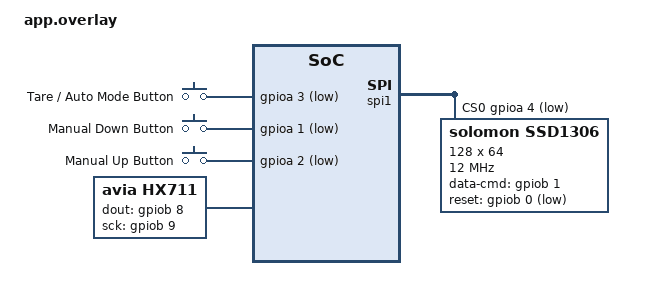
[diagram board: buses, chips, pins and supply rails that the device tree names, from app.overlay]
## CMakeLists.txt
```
cmake_minimum_required(VERSION 3.20.0)

# Use the exact absolute path to your cloned module
set(ZEPHYR_EXTRA_MODULES "/home/sudha/zephyer_rtos/modules/HX711_zephyr_driver")

# Boot up Zephyr
find_package(Zephyr REQUIRED HINTS $ENV{ZEPHYR_BASE})

project(hoist_app)
target_sources(app PRIVATE src/main.c)
```

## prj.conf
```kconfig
CONFIG_GPIO=y
CONFIG_SPI=y

# Raw Display Subsystem
CONFIG_DISPLAY=y
CONFIG_SSD1306=y

# Minimal Libc (Saves tons of Flash)
CONFIG_MINIMAL_LIBC=y

# Sensor Subsystem & HX711
CONFIG_SENSOR=y
CONFIG_HX711=y
CONFIG_HX711_ENABLE_EMA_FILTER=n
CONFIG_HX711_ENABLE_MEDIAN_FILTER=y
CONFIG_HX711_MEDIAN_FILTER_WINDOW_SIZE=3

# --- THE FIX: Disable Console to free up pins PA9 and PA10! ---
CONFIG_SERIAL=n
CONFIG_CONSOLE=n
CONFIG_UART_CONSOLE=n

# Aggressive Size Optimizations
CONFIG_SIZE_OPTIMIZATIONS=y

# Multithreading Optimization 
CONFIG_MAIN_STACK_SIZE=1024
CONFIG_SYSTEM_WORKQUEUE_STACK_SIZE=1024
```

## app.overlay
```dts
/ {
	aliases {
		scale = &hx711;
		tare-btn = &tare_button;
		down-btn = &down_button;
		up-btn = &up_button;
	};

	buttons {
		compatible = "gpio-keys";
		tare_button: button_0 {
			gpios = <&gpioa 3 (GPIO_ACTIVE_LOW | GPIO_PULL_UP)>;
			label = "Tare / Auto Mode Button";
		};
		down_button: button_1 {
			gpios = <&gpioa 1 (GPIO_ACTIVE_LOW | GPIO_PULL_UP)>;
			label = "Manual Down Button";
		};
		up_button: button_2 {
			gpios = <&gpioa 2 (GPIO_ACTIVE_LOW | GPIO_PULL_UP)>;
			label = "Manual Up Button";
		};
	};

	hx711: hx711 {
		compatible = "avia,hx711";
		status = "okay";
		label = "HX711";
		dout-gpios = <&gpiob 8 (GPIO_ACTIVE_HIGH | GPIO_PULL_UP)>;
		sck-gpios = <&gpiob 9 GPIO_ACTIVE_HIGH>;
	};
};

&spi1 {
	status = "okay";
	cs-gpios = <&gpioa 4 GPIO_ACTIVE_LOW>;
	ssd1306: ssd1306@0 {
		compatible = "solomon,ssd1306";
		reg = <0>;
		spi-max-frequency = <12000000>;
		width = <128>;
		height = <64>;
		segment-offset = <0>;
		page-offset = <0>;
		display-offset = <0>;
		multiplex-ratio = <63>;
		segment-remap;
		com-invdir;
		prechargep = <0x22>;
		data-cmd-gpios = <&gpiob 1 GPIO_ACTIVE_HIGH>;
		reset-gpios = <&gpiob 0 GPIO_ACTIVE_LOW>;
	};
};
```

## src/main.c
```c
#include <zephyr/kernel.h>
#include <zephyr/device.h>
#include <zephyr/devicetree.h>
#include <zephyr/drivers/sensor.h>
#include <zephyr/drivers/display.h>
#include <zephyr/drivers/gpio.h>
#include <sensor/hx711/hx711.h>
#include <stdio.h>
#include <string.h>
#include <stdlib.h> 

#define SCREEN_WIDTH 128
#define SCREEN_HEIGHT 64

/* --- System Modes --- */
#define MODE_MANUAL 0
#define MODE_AUTO   1

/* --- Tuning Parameters --- */
#define DEADBAND_GRAMS 20   
#define SPEED_MULTIPLIER 300
#define MAX_SPEED_HZ 60000     
#define MANUAL_SPEED_HZ 2000 // Constant speed when holding A1/A2
#define SPEED_SMOOTHING 0.005f // Lower = smoother/slower acceleration, Higher = jerkier

/* --- State & Math --- */
static uint8_t frame_buffer[1024];
static volatile int32_t latest_raw = 0;
static volatile float filtered_raw = 0.0f;
static volatile int current_grams = 0;

static float tare_offset = 8281000.0f; 
static float scale_factor = 200.0f;    

/* State Machine Variables */
static volatile int system_mode = MODE_MANUAL; 
static volatile int manual_cmd = 0; // 1 = UP, -1 = DOWN, 0 = HOLD

/* --- Hardware Handles --- */
const struct device *hx = DEVICE_DT_GET(DT_NODELABEL(hx711));
const struct device *disp = DEVICE_DT_GET(DT_NODELABEL(ssd1306));
const struct device *gpioa = DEVICE_DT_GET(DT_NODELABEL(gpioa)); 
const struct device *gpiob = DEVICE_DT_GET(DT_NODELABEL(gpiob)); 

static const struct gpio_dt_spec btn_tare = GPIO_DT_SPEC_GET(DT_ALIAS(tare_btn), gpios);
static const struct gpio_dt_spec btn_down = GPIO_DT_SPEC_GET(DT_ALIAS(down_btn), gpios);
static const struct gpio_dt_spec btn_up   = GPIO_DT_SPEC_GET(DT_ALIAS(up_btn), gpios);

/* Complete ASCII Font (Space to 'Z') */
static const uint8_t font_5x7[59][5] = {
    {0x00,0x00,0x00,0x00,0x00}, {0x00,0x00,0x5f,0x00,0x00}, {0x00,0x07,0x00,0x07,0x00}, {0x14,0x7f,0x14,0x7f,0x14}, 
    {0x24,0x2a,0x7f,0x2a,0x12}, {0x23,0x13,0x08,0x64,0x62}, {0x36,0x49,0x55,0x22,0x50}, {0x00,0x05,0x03,0x00,0x00}, 
    {0x00,0x1c,0x22,0x41,0x00}, {0x00,0x41,0x22,0x1c,0x00}, {0x14,0x08,0x3e,0x08,0x14}, {0x08,0x08,0x3e,0x08,0x08}, 
    {0x00,0x50,0x30,0x00,0x00}, {0x08,0x08,0x08,0x08,0x08}, {0x00,0x60,0x60,0x00,0x00}, {0x20,0x10,0x08,0x04,0x02}, 
    {0x3e,0x51,0x49,0x45,0x3e}, {0x00,0x42,0x7f,0x40,0x00}, {0x42,0x61,0x51,0x49,0x46}, {0x21,0x41,0x45,0x4b,0x31}, 
    {0x18,0x14,0x12,0x7f,0x10}, {0x27,0x45,0x45,0x45,0x39}, {0x3c,0x4a,0x49,0x49,0x30}, {0x01,0x71,0x09,0x05,0x03}, 
    {0x36,0x49,0x49,0x49,0x36}, {0x06,0x49,0x49,0x29,0x1e}, {0x00,0x36,0x36,0x00,0x00}, {0x00,0x56,0x36,0x00,0x00}, 
    {0x08,0x14,0x22,0x41,0x00}, {0x14,0x14,0x14,0x14,0x14}, {0x00,0x41,0x22,0x14,0x08}, {0x02,0x01,0x51,0x09,0x06}, 
    {0x32,0x49,0x79,0x41,0x3e}, {0x7e,0x11,0x11,0x11,0x7e}, {0x7f,0x49,0x49,0x49,0x36}, {0x3e,0x41,0x41,0x41,0x22}, 
    {0x7f,0x41,0x41,0x22,0x1c}, {0x7f,0x49,0x49,0x49,0x41}, {0x7f,0x09,0x09,0x09,0x01}, {0x3e,0x41,0x49,0x49,0x7a}, 
    {0x7f,0x08,0x08,0x08,0x7f}, {0x00,0x41,0x7f,0x41,0x00}, {0x20,0x40,0x41,0x3f,0x01}, {0x7f,0x08,0x14,0x22,0x41}, 
    {0x7f,0x40,0x40,0x40,0x40}, {0x7f,0x02,0x0c,0x02,0x7f}, {0x7f,0x04,0x08,0x10,0x7f}, {0x3e,0x41,0x41,0x41,0x3e}, 
    {0x7f,0x09,0x09,0x09,0x06}, {0x3e,0x41,0x51,0x21,0x5e}, {0x7f,0x09,0x19,0x29,0x46}, {0x46,0x49,0x49,0x49,0x31}, 
    {0x01,0x01,0x7f,0x01,0x01}, {0x3f,0x40,0x40,0x40,0x3f}, {0x1f,0x20,0x40,0x20,0x1f}, {0x3f,0x40,0x38,0x40,0x3f}, 
    {0x63,0x14,0x08,0x14,0x63}, {0x07,0x08,0x70,0x08,0x07}, {0x61,0x51,0x49,0x45,0x43}  
};

static void draw_text(int x, int y, const char *s) {
    while (*s) {
        int idx = 0;
        if (*s >= 32 && *s <= 90) idx = *s - 32; 
        for (int i = 0; i < 5; i++) {
            uint8_t col = font_5x7[idx][i];
            for (int j = 0; j < 7; j++) {
                if (col & (1 << j)) frame_buffer[((y + j) / 8) * SCREEN_WIDTH + (x + i)] |= (1 << ((y + j) % 8));
            }
        }
        x += 6; s++;
    }
}

/* --- THREAD 1: HX711 Sampler (80Hz) --- */
void sensor_thread(void *p1, void *p2, void *p3) {
    struct sensor_value rate = { .val1 = HX711_RATE_80HZ };
    sensor_attr_set(hx, HX711_SENSOR_CHAN_WEIGHT, SENSOR_ATTR_SAMPLING_FREQUENCY, &rate);
    struct sensor_value val;
    
    while (1) {
        if (sensor_sample_fetch(hx) == 0) {
            sensor_channel_get(hx, HX711_SENSOR_CHAN_WEIGHT, &val);
            latest_raw = val.val1;
            
            if (filtered_raw == 0.0f) filtered_raw = (float)latest_raw;
            filtered_raw = (0.15f * (float)latest_raw) + (0.85f * filtered_raw);
            current_grams = (int)((filtered_raw - tare_offset) / scale_factor);
        }
        k_msleep(1); 
    }
}
K_THREAD_DEFINE(s_tid, 1024, sensor_thread, NULL, NULL, NULL, 5, 0, 0);

/* --- THREAD 2: Stepper Controller (Smoothed Physics) --- */
void stepper_thread(void *p1, void *p2, void *p3) {
    if (!device_is_ready(gpioa) || !device_is_ready(gpiob)) return;
    
    gpio_pin_configure(gpioa, 9, GPIO_OUTPUT_ACTIVE);  // PA9: DIR
    gpio_pin_configure(gpioa, 10, GPIO_OUTPUT_ACTIVE); // PA10: STEP
    gpio_pin_configure(gpiob, 5, GPIO_OUTPUT_ACTIVE);  // PB5: ENABLE
    
    gpio_pin_set(gpiob, 5, 0); // PB5 LOW = Motor ENABLED

    float current_speed_hz = 0.0f; // Track actual motor speed
    int current_direction = 0;     // 1 for UP, 0 for DOWN

    while (1) {
        int target_speed_hz = 0;
        int target_direction = current_direction;

        /* Determine target speed and direction based on mode */
        if (system_mode == MODE_MANUAL) {
            if (manual_cmd == 1) {
                target_direction = 0; // Adjust to 1 if motor runs backward
                target_speed_hz = MANUAL_SPEED_HZ;
            } else if (manual_cmd == -1) {
                target_direction = 1; // Adjust to 0 if motor runs backward
                target_speed_hz = MANUAL_SPEED_HZ;
            } else {
                target_speed_hz = 0;
            }
        } else if (system_mode == MODE_AUTO) {
            int err = current_grams; 
            if (abs(err) > DEADBAND_GRAMS) {
                target_direction = (err > 0) ? 1 : 0;
                target_speed_hz = abs(err) * SPEED_MULTIPLIER;
                if (target_speed_hz > MAX_SPEED_HZ) target_speed_hz = MAX_SPEED_HZ;
            } else {
                target_speed_hz = 0;
            }
        }

        /* Prevent instant direction changes while motor is still spinning down */
        if (target_direction != current_direction && current_speed_hz > 500.0f) {
            target_speed_hz = 0; // Force brake before reversing
        } else {
            current_direction = target_direction;
            gpio_pin_set(gpioa, 9, current_direction);
        }

        /* Smoothly ramp the actual speed toward the target speed */
        current_speed_hz = (SPEED_SMOOTHING * (float)target_speed_hz) + ((1.0f - SPEED_SMOOTHING) * current_speed_hz);

        /* Drive the motor if we are above the minimum speed threshold */
        if (current_speed_hz > 100.0f) {
            int delay_us = 1000000 / (int)current_speed_hz;
            
            // Fire the Pulse
            gpio_pin_set(gpioa, 10, 1);
            k_busy_wait(15); 
            gpio_pin_set(gpioa, 10, 0);
            
            // Wait for next step
            k_busy_wait(delay_us); 
        } else {
            // Motor is functionally stopped
            k_msleep(1); 
        }
    }
}
K_THREAD_DEFINE(step_tid, 1024, stepper_thread, NULL, NULL, NULL, 5, 0, 0);

/* --- MAIN THREAD: Display & Inputs --- */
int main(void) {
    gpio_pin_configure_dt(&btn_tare, GPIO_INPUT);
    gpio_pin_configure_dt(&btn_down, GPIO_INPUT);
    gpio_pin_configure_dt(&btn_up,   GPIO_INPUT);
    
    struct display_buffer_descriptor desc = { .buf_size = 1024, .width = 128, .height = 64, .pitch = 128 };
    char buf[32];

    while (1) {
        memset(frame_buffer, 0, 1024);

        /* 1. Poll the Override Buttons (Immediate execution) */
        if (gpio_pin_get_dt(&btn_up)) {
            system_mode = MODE_MANUAL;
            manual_cmd = 1; 
        } else if (gpio_pin_get_dt(&btn_down)) {
            system_mode = MODE_MANUAL;
            manual_cmd = -1;
        } else {
            manual_cmd = 0; // Release hold
        }

        /* 2. Poll Tare (Sets Auto Mode) */
        if (gpio_pin_get_dt(&btn_tare)) {
            tare_offset = filtered_raw;
            system_mode = MODE_AUTO; // Override back to Auto
        }

        /* 3. Render Display */
        snprintf(buf, sizeof(buf), "GRAMS: %d", current_grams);
        draw_text(0, 5, buf);

        if (system_mode == MODE_AUTO) {
            draw_text(0, 20, "MODE: AUTO");
            if (abs(current_grams) <= DEADBAND_GRAMS) draw_text(0, 35, "MOTOR: HOLD");
            else if (current_grams > 0) draw_text(0, 35, "MOTOR: DOWN");
            else draw_text(0, 35, "MOTOR: UP");
        } else {
            draw_text(0, 20, "MODE: MANUAL");
            if (manual_cmd == 1) draw_text(0, 35, "MOTOR: UP");
            else if (manual_cmd == -1) draw_text(0, 35, "MOTOR: DOWN");
            else draw_text(0, 35, "MOTOR: HOLD");
        }

        snprintf(buf, sizeof(buf), "RAW: %d", latest_raw);
        draw_text(0, 50, buf);

        display_write(disp, 0, 0, &desc, frame_buffer);
        k_sleep(K_MSEC(25)); 
    }
}
```

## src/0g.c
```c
#include <zephyr/kernel.h>
#include <zephyr/device.h>
#include <zephyr/devicetree.h>
#include <zephyr/drivers/sensor.h>
#include <zephyr/drivers/display.h>
#include <zephyr/drivers/gpio.h>
#include <sensor/hx711/hx711.h>
#include <stdio.h>
#include <string.h>
#include <stdlib.h> 

#define SCREEN_WIDTH 128
#define SCREEN_HEIGHT 64

/* --- Zero-G Tuning Parameters --- */
/* --- Zero-G Tuning Parameters --- */
#define DEADBAND_GRAMS 10   // Lowered slightly for higher sensitivity
#define SPEED_MULTIPLIER 400// The "Acceleration" / Proportional Gain
#define MAX_SPEED_HZ 60000     // The Top Speed Limit

/* --- State & Math --- */
static uint8_t frame_buffer[1024];
static volatile int32_t latest_raw = 0;
static volatile float filtered_raw = 0.0f;
static volatile int current_grams = 0;

static float tare_offset = 8281000.0f; 
static float scale_factor = 200.0f;    

/* --- Hardware Handles --- */
const struct device *hx = DEVICE_DT_GET(DT_NODELABEL(hx711));
const struct device *disp = DEVICE_DT_GET(DT_NODELABEL(ssd1306));
const struct device *gpioa = DEVICE_DT_GET(DT_NODELABEL(gpioa)); 
const struct device *gpiob = DEVICE_DT_GET(DT_NODELABEL(gpiob)); 
static const struct gpio_dt_spec btn = GPIO_DT_SPEC_GET(DT_ALIAS(tare_btn), gpios);

/* Complete ASCII Font (Space to 'Z') */
static const uint8_t font_5x7[59][5] = {
    {0x00,0x00,0x00,0x00,0x00}, {0x00,0x00,0x5f,0x00,0x00}, {0x00,0x07,0x00,0x07,0x00}, {0x14,0x7f,0x14,0x7f,0x14}, 
    {0x24,0x2a,0x7f,0x2a,0x12}, {0x23,0x13,0x08,0x64,0x62}, {0x36,0x49,0x55,0x22,0x50}, {0x00,0x05,0x03,0x00,0x00}, 
    {0x00,0x1c,0x22,0x41,0x00}, {0x00,0x41,0x22,0x1c,0x00}, {0x14,0x08,0x3e,0x08,0x14}, {0x08,0x08,0x3e,0x08,0x08}, 
    {0x00,0x50,0x30,0x00,0x00}, {0x08,0x08,0x08,0x08,0x08}, {0x00,0x60,0x60,0x00,0x00}, {0x20,0x10,0x08,0x04,0x02}, 
    {0x3e,0x51,0x49,0x45,0x3e}, {0x00,0x42,0x7f,0x40,0x00}, {0x42,0x61,0x51,0x49,0x46}, {0x21,0x41,0x45,0x4b,0x31}, 
    {0x18,0x14,0x12,0x7f,0x10}, {0x27,0x45,0x45,0x45,0x39}, {0x3c,0x4a,0x49,0x49,0x30}, {0x01,0x71,0x09,0x05,0x03}, 
    {0x36,0x49,0x49,0x49,0x36}, {0x06,0x49,0x49,0x29,0x1e}, {0x00,0x36,0x36,0x00,0x00}, {0x00,0x56,0x36,0x00,0x00}, 
    {0x08,0x14,0x22,0x41,0x00}, {0x14,0x14,0x14,0x14,0x14}, {0x00,0x41,0x22,0x14,0x08}, {0x02,0x01,0x51,0x09,0x06}, 
    {0x32,0x49,0x79,0x41,0x3e}, {0x7e,0x11,0x11,0x11,0x7e}, {0x7f,0x49,0x49,0x49,0x36}, {0x3e,0x41,0x41,0x41,0x22}, 
    {0x7f,0x41,0x41,0x22,0x1c}, {0x7f,0x49,0x49,0x49,0x41}, {0x7f,0x09,0x09,0x09,0x01}, {0x3e,0x41,0x49,0x49,0x7a}, 
    {0x7f,0x08,0x08,0x08,0x7f}, {0x00,0x41,0x7f,0x41,0x00}, {0x20,0x40,0x41,0x3f,0x01}, {0x7f,0x08,0x14,0x22,0x41}, 
    {0x7f,0x40,0x40,0x40,0x40}, {0x7f,0x02,0x0c,0x02,0x7f}, {0x7f,0x04,0x08,0x10,0x7f}, {0x3e,0x41,0x41,0x41,0x3e}, 
    {0x7f,0x09,0x09,0x09,0x06}, {0x3e,0x41,0x51,0x21,0x5e}, {0x7f,0x09,0x19,0x29,0x46}, {0x46,0x49,0x49,0x49,0x31}, 
    {0x01,0x01,0x7f,0x01,0x01}, {0x3f,0x40,0x40,0x40,0x3f}, {0x1f,0x20,0x40,0x20,0x1f}, {0x3f,0x40,0x38,0x40,0x3f}, 
    {0x63,0x14,0x08,0x14,0x63}, {0x07,0x08,0x70,0x08,0x07}, {0x61,0x51,0x49,0x45,0x43}  
};

static void draw_text(int x, int y, const char *s) {
    while (*s) {
        int idx = 0;
        if (*s >= 32 && *s <= 90) idx = *s - 32; 
        for (int i = 0; i < 5; i++) {
            uint8_t col = font_5x7[idx][i];
            for (int j = 0; j < 7; j++) {
                if (col & (1 << j)) frame_buffer[((y + j) / 8) * SCREEN_WIDTH + (x + i)] |= (1 << ((y + j) % 8));
            }
        }
        x += 6; s++;
    }
}

/* --- THREAD 1: HX711 Sampler (80Hz) --- */
void sensor_thread(void *p1, void *p2, void *p3) {
    struct sensor_value rate = { .val1 = HX711_RATE_80HZ };
    sensor_attr_set(hx, HX711_SENSOR_CHAN_WEIGHT, SENSOR_ATTR_SAMPLING_FREQUENCY, &rate);
    struct sensor_value val;
    
    while (1) {
        if (sensor_sample_fetch(hx) == 0) {
            sensor_channel_get(hx, HX711_SENSOR_CHAN_WEIGHT, &val);
            latest_raw = val.val1;
            
            if (filtered_raw == 0.0f) filtered_raw = (float)latest_raw;
            filtered_raw = (0.15f * (float)latest_raw) + (0.85f * filtered_raw);
            current_grams = (int)((filtered_raw - tare_offset) / scale_factor);
        }
        k_msleep(1); 
    }
}
K_THREAD_DEFINE(s_tid, 1024, sensor_thread, NULL, NULL, NULL, 5, 0, 0);

/* --- THREAD 2: Proportional Stepper Controller --- */
void stepper_thread(void *p1, void *p2, void *p3) {
    if (!device_is_ready(gpioa) || !device_is_ready(gpiob)) return;
    
    /* Corrected Pinout from Diagnostic Test */
    gpio_pin_configure(gpioa, 9, GPIO_OUTPUT_ACTIVE);  // PA9: DIR
    gpio_pin_configure(gpioa, 10, GPIO_OUTPUT_ACTIVE); // PA10: STEP
    gpio_pin_configure(gpiob, 5, GPIO_OUTPUT_ACTIVE);  // PB5: ENABLE
    
    gpio_pin_set(gpiob, 5, 0); // PB5 LOW = Motor ENABLED

    while (1) {
        int err = current_grams; 

        if (abs(err) > DEADBAND_GRAMS) {
            // Set Direction
            if (err > 0) gpio_pin_set(gpioa, 9, 1); 
            else         gpio_pin_set(gpioa, 9, 0); 

            // Calculate Speed based on how hard you push (Proportional)
            int speed_hz = abs(err) * SPEED_MULTIPLIER;
            if (speed_hz > MAX_SPEED_HZ) speed_hz = MAX_SPEED_HZ;
            if (speed_hz < 100) speed_hz = 100; // Minimum floor speed
            
            int delay_us = 1000000 / speed_hz;
            
            // Fire the Pulse (Made fatter based on diagnostic)
            gpio_pin_set(gpioa, 10, 1);
            k_busy_wait(15); 
            gpio_pin_set(gpioa, 10, 0);
            
            // Wait for next step
            k_busy_wait(delay_us); 
        } else {
            k_msleep(1); // Sleep if inside deadband
        }
    }
}
K_THREAD_DEFINE(step_tid, 1024, stepper_thread, NULL, NULL, NULL, 5, 0, 0);

/* --- MAIN THREAD: Display & Inputs --- */
int main(void) {
    gpio_pin_configure_dt(&btn, GPIO_INPUT);
    struct display_buffer_descriptor desc = { .buf_size = 1024, .width = 128, .height = 64, .pitch = 128 };
    char buf[32];

    while (1) {
        memset(frame_buffer, 0, 1024);

        snprintf(buf, sizeof(buf), "GRAMS: %d", current_grams);
        draw_text(0, 5, buf);

        if (abs(current_grams) <= DEADBAND_GRAMS) draw_text(0, 25, "MOTOR: HOLD");
        else if (current_grams > 0) draw_text(0, 25, "MOTOR: DOWN");
        else draw_text(0, 25, "MOTOR: UP");

        snprintf(buf, sizeof(buf), "RAW: %d", latest_raw);
        draw_text(0, 45, buf);

        if (gpio_pin_get_dt(&btn)) {
            tare_offset = filtered_raw;
        }

        display_write(disp, 0, 0, &desc, frame_buffer);
        k_sleep(K_MSEC(25)); 
    }
}
```

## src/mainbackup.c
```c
#include <zephyr/kernel.h>
#include <zephyr/device.h>
#include <zephyr/devicetree.h>
#include <zephyr/drivers/sensor.h>
#include <zephyr/drivers/display.h>
#include <zephyr/drivers/gpio.h>
#include <sensor/hx711/hx711.h>
#include <stdio.h>
#include <string.h>
#include <stdlib.h> 

#define SCREEN_WIDTH 128
#define SCREEN_HEIGHT 64

/* --- Zero-G Tuning Parameters --- */
/* --- Zero-G Tuning Parameters --- */
#define DEADBAND_GRAMS 50   // Lowered slightly for higher sensitivity
#define SPEED_MULTIPLIER 100// The "Acceleration" / Proportional Gain
#define MAX_SPEED_HZ 40000     // The Top Speed Limit

/* --- State & Math --- */
static uint8_t frame_buffer[1024];
static volatile int32_t latest_raw = 0;
static volatile float filtered_raw = 0.0f;
static volatile int current_grams = 0;

static float tare_offset = 8281000.0f; 
static float scale_factor = 200.0f;    

/* --- Hardware Handles --- */
const struct device *hx = DEVICE_DT_GET(DT_NODELABEL(hx711));
const struct device *disp = DEVICE_DT_GET(DT_NODELABEL(ssd1306));
const struct device *gpioa = DEVICE_DT_GET(DT_NODELABEL(gpioa)); 
const struct device *gpiob = DEVICE_DT_GET(DT_NODELABEL(gpiob)); 
static const struct gpio_dt_spec btn = GPIO_DT_SPEC_GET(DT_ALIAS(tare_btn), gpios);

/* Complete ASCII Font (Space to 'Z') */
static const uint8_t font_5x7[59][5] = {
    {0x00,0x00,0x00,0x00,0x00}, {0x00,0x00,0x5f,0x00,0x00}, {0x00,0x07,0x00,0x07,0x00}, {0x14,0x7f,0x14,0x7f,0x14}, 
    {0x24,0x2a,0x7f,0x2a,0x12}, {0x23,0x13,0x08,0x64,0x62}, {0x36,0x49,0x55,0x22,0x50}, {0x00,0x05,0x03,0x00,0x00}, 
    {0x00,0x1c,0x22,0x41,0x00}, {0x00,0x41,0x22,0x1c,0x00}, {0x14,0x08,0x3e,0x08,0x14}, {0x08,0x08,0x3e,0x08,0x08}, 
    {0x00,0x50,0x30,0x00,0x00}, {0x08,0x08,0x08,0x08,0x08}, {0x00,0x60,0x60,0x00,0x00}, {0x20,0x10,0x08,0x04,0x02}, 
    {0x3e,0x51,0x49,0x45,0x3e}, {0x00,0x42,0x7f,0x40,0x00}, {0x42,0x61,0x51,0x49,0x46}, {0x21,0x41,0x45,0x4b,0x31}, 
    {0x18,0x14,0x12,0x7f,0x10}, {0x27,0x45,0x45,0x45,0x39}, {0x3c,0x4a,0x49,0x49,0x30}, {0x01,0x71,0x09,0x05,0x03}, 
    {0x36,0x49,0x49,0x49,0x36}, {0x06,0x49,0x49,0x29,0x1e}, {0x00,0x36,0x36,0x00,0x00}, {0x00,0x56,0x36,0x00,0x00}, 
    {0x08,0x14,0x22,0x41,0x00}, {0x14,0x14,0x14,0x14,0x14}, {0x00,0x41,0x22,0x14,0x08}, {0x02,0x01,0x51,0x09,0x06}, 
    {0x32,0x49,0x79,0x41,0x3e}, {0x7e,0x11,0x11,0x11,0x7e}, {0x7f,0x49,0x49,0x49,0x36}, {0x3e,0x41,0x41,0x41,0x22}, 
    {0x7f,0x41,0x41,0x22,0x1c}, {0x7f,0x49,0x49,0x49,0x41}, {0x7f,0x09,0x09,0x09,0x01}, {0x3e,0x41,0x49,0x49,0x7a}, 
    {0x7f,0x08,0x08,0x08,0x7f}, {0x00,0x41,0x7f,0x41,0x00}, {0x20,0x40,0x41,0x3f,0x01}, {0x7f,0x08,0x14,0x22,0x41}, 
    {0x7f,0x40,0x40,0x40,0x40}, {0x7f,0x02,0x0c,0x02,0x7f}, {0x7f,0x04,0x08,0x10,0x7f}, {0x3e,0x41,0x41,0x41,0x3e}, 
    {0x7f,0x09,0x09,0x09,0x06}, {0x3e,0x41,0x51,0x21,0x5e}, {0x7f,0x09,0x19,0x29,0x46}, {0x46,0x49,0x49,0x49,0x31}, 
    {0x01,0x01,0x7f,0x01,0x01}, {0x3f,0x40,0x40,0x40,0x3f}, {0x1f,0x20,0x40,0x20,0x1f}, {0x3f,0x40,0x38,0x40,0x3f}, 
    {0x63,0x14,0x08,0x14,0x63}, {0x07,0x08,0x70,0x08,0x07}, {0x61,0x51,0x49,0x45,0x43}  
};

static void draw_text(int x, int y, const char *s) {
    while (*s) {
        int idx = 0;
        if (*s >= 32 && *s <= 90) idx = *s - 32; 
        for (int i = 0; i < 5; i++) {
            uint8_t col = font_5x7[idx][i];
            for (int j = 0; j < 7; j++) {
                if (col & (1 << j)) frame_buffer[((y + j) / 8) * SCREEN_WIDTH + (x + i)] |= (1 << ((y + j) % 8));
            }
        }
        x += 6; s++;
    }
}

/* --- THREAD 1: HX711 Sampler (80Hz) --- */
void sensor_thread(void *p1, void *p2, void *p3) {
    struct sensor_value rate = { .val1 = HX711_RATE_80HZ };
    sensor_attr_set(hx, HX711_SENSOR_CHAN_WEIGHT, SENSOR_ATTR_SAMPLING_FREQUENCY, &rate);
    struct sensor_value val;
    
    while (1) {
        if (sensor_sample_fetch(hx) == 0) {
            sensor_channel_get(hx, HX711_SENSOR_CHAN_WEIGHT, &val);
            latest_raw = val.val1;
            
            if (filtered_raw == 0.0f) filtered_raw = (float)latest_raw;
            filtered_raw = (0.15f * (float)latest_raw) + (0.85f * filtered_raw);
            current_grams = (int)((filtered_raw - tare_offset) / scale_factor);
        }
        k_msleep(1); 
    }
}
K_THREAD_DEFINE(s_tid, 1024, sensor_thread, NULL, NULL, NULL, 5, 0, 0);

/* --- THREAD 2: Proportional Stepper Controller --- */
void stepper_thread(void *p1, void *p2, void *p3) {
    if (!device_is_ready(gpioa) || !device_is_ready(gpiob)) return;
    
    /* Corrected Pinout from Diagnostic Test */
    gpio_pin_configure(gpioa, 9, GPIO_OUTPUT_ACTIVE);  // PA9: DIR
    gpio_pin_configure(gpioa, 10, GPIO_OUTPUT_ACTIVE); // PA10: STEP
    gpio_pin_configure(gpiob, 5, GPIO_OUTPUT_ACTIVE);  // PB5: ENABLE
    
    gpio_pin_set(gpiob, 5, 0); // PB5 LOW = Motor ENABLED

    while (1) {
        int err = current_grams; 

        if (abs(err) > DEADBAND_GRAMS) {
            // Set Direction
            if (err > 0) gpio_pin_set(gpioa, 9, 1); 
            else         gpio_pin_set(gpioa, 9, 0); 

            // Calculate Speed based on how hard you push (Proportional)
            int speed_hz = abs(err) * SPEED_MULTIPLIER;
            if (speed_hz > MAX_SPEED_HZ) speed_hz = MAX_SPEED_HZ;
            if (speed_hz < 100) speed_hz = 100; // Minimum floor speed
            
            int delay_us = 1000000 / speed_hz;
            
            // Fire the Pulse (Made fatter based on diagnostic)
            gpio_pin_set(gpioa, 10, 1);
            k_busy_wait(15); 
            gpio_pin_set(gpioa, 10, 0);
            
            // Wait for next step
            k_busy_wait(delay_us); 
        } else {
            k_msleep(1); // Sleep if inside deadband
        }
    }
}
K_THREAD_DEFINE(step_tid, 1024, stepper_thread, NULL, NULL, NULL, 5, 0, 0);

/* --- MAIN THREAD: Display & Inputs --- */
int main(void) {
    gpio_pin_configure_dt(&btn, GPIO_INPUT);
    struct display_buffer_descriptor desc = { .buf_size = 1024, .width = 128, .height = 64, .pitch = 128 };
    char buf[32];

    while (1) {
        memset(frame_buffer, 0, 1024);

        snprintf(buf, sizeof(buf), "GRAMS: %d", current_grams);
        draw_text(0, 5, buf);

        if (abs(current_grams) <= DEADBAND_GRAMS) draw_text(0, 25, "MOTOR: HOLD");
        else if (current_grams > 0) draw_text(0, 25, "MOTOR: DOWN");
        else draw_text(0, 25, "MOTOR: UP");

        snprintf(buf, sizeof(buf), "RAW: %d", latest_raw);
        draw_text(0, 45, buf);

        if (gpio_pin_get_dt(&btn)) {
            tare_offset = filtered_raw;
        }

        display_write(disp, 0, 0, &desc, frame_buffer);
        k_sleep(K_MSEC(25)); 
    }
}
```

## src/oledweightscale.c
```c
#include <zephyr/kernel.h>
#include <zephyr/device.h>
#include <zephyr/devicetree.h>
#include <zephyr/drivers/sensor.h>
#include <zephyr/drivers/display.h>
#include <zephyr/drivers/gpio.h>
#include <sensor/hx711/hx711.h>
#include <stdio.h>
#include <string.h>

#define SCREEN_WIDTH 128
#define SCREEN_HEIGHT 64

/* --- Advanced Optimization Math --- */
static uint8_t frame_buffer[1024];
static volatile int32_t latest_raw = 0;
static volatile float filtered_raw = 0.0f;

/* Hardcoded from your actual load cell readings! */
static float tare_offset = 8281000.0f; 
static float scale_factor = 200.0f;    

/* --- Hardware Handles --- */
const struct device *hx = DEVICE_DT_GET(DT_NODELABEL(hx711));
const struct device *disp = DEVICE_DT_GET(DT_NODELABEL(ssd1306));
static const struct gpio_dt_spec btn = GPIO_DT_SPEC_GET(DT_ALIAS(tare_btn), gpios);

/* Complete ASCII Font (Space to 'Z') so letters actually render! */
static const uint8_t font_5x7[59][5] = {
    {0x00,0x00,0x00,0x00,0x00}, {0x00,0x00,0x5f,0x00,0x00}, {0x00,0x07,0x00,0x07,0x00}, {0x14,0x7f,0x14,0x7f,0x14}, // Space, !, ", #
    {0x24,0x2a,0x7f,0x2a,0x12}, {0x23,0x13,0x08,0x64,0x62}, {0x36,0x49,0x55,0x22,0x50}, {0x00,0x05,0x03,0x00,0x00}, // $, %, &, '
    {0x00,0x1c,0x22,0x41,0x00}, {0x00,0x41,0x22,0x1c,0x00}, {0x14,0x08,0x3e,0x08,0x14}, {0x08,0x08,0x3e,0x08,0x08}, // (, ), *, +
    {0x00,0x50,0x30,0x00,0x00}, {0x08,0x08,0x08,0x08,0x08}, {0x00,0x60,0x60,0x00,0x00}, {0x20,0x10,0x08,0x04,0x02}, // ,, -, ., /
    {0x3e,0x51,0x49,0x45,0x3e}, {0x00,0x42,0x7f,0x40,0x00}, {0x42,0x61,0x51,0x49,0x46}, {0x21,0x41,0x45,0x4b,0x31}, // 0, 1, 2, 3
    {0x18,0x14,0x12,0x7f,0x10}, {0x27,0x45,0x45,0x45,0x39}, {0x3c,0x4a,0x49,0x49,0x30}, {0x01,0x71,0x09,0x05,0x03}, // 4, 5, 6, 7
    {0x36,0x49,0x49,0x49,0x36}, {0x06,0x49,0x49,0x29,0x1e}, {0x00,0x36,0x36,0x00,0x00}, {0x00,0x56,0x36,0x00,0x00}, // 8, 9, :, ;
    {0x08,0x14,0x22,0x41,0x00}, {0x14,0x14,0x14,0x14,0x14}, {0x00,0x41,0x22,0x14,0x08}, {0x02,0x01,0x51,0x09,0x06}, // <, =, >, ?
    {0x32,0x49,0x79,0x41,0x3e}, {0x7e,0x11,0x11,0x11,0x7e}, {0x7f,0x49,0x49,0x49,0x36}, {0x3e,0x41,0x41,0x41,0x22}, // @, A, B, C
    {0x7f,0x41,0x41,0x22,0x1c}, {0x7f,0x49,0x49,0x49,0x41}, {0x7f,0x09,0x09,0x09,0x01}, {0x3e,0x41,0x49,0x49,0x7a}, // D, E, F, G
    {0x7f,0x08,0x08,0x08,0x7f}, {0x00,0x41,0x7f,0x41,0x00}, {0x20,0x40,0x41,0x3f,0x01}, {0x7f,0x08,0x14,0x22,0x41}, // H, I, J, K
    {0x7f,0x40,0x40,0x40,0x40}, {0x7f,0x02,0x0c,0x02,0x7f}, {0x7f,0x04,0x08,0x10,0x7f}, {0x3e,0x41,0x41,0x41,0x3e}, // L, M, N, O
    {0x7f,0x09,0x09,0x09,0x06}, {0x3e,0x41,0x51,0x21,0x5e}, {0x7f,0x09,0x19,0x29,0x46}, {0x46,0x49,0x49,0x49,0x31}, // P, Q, R, S
    {0x01,0x01,0x7f,0x01,0x01}, {0x3f,0x40,0x40,0x40,0x3f}, {0x1f,0x20,0x40,0x20,0x1f}, {0x3f,0x40,0x38,0x40,0x3f}, // T, U, V, W
    {0x63,0x14,0x08,0x14,0x63}, {0x07,0x08,0x70,0x08,0x07}, {0x61,0x51,0x49,0x45,0x43}  // X, Y, Z
};

static void draw_text(int x, int y, const char *s) {
    while (*s) {
        int idx = 0;
        if (*s >= 32 && *s <= 90) idx = *s - 32; // Directly maps ASCII to our array
        
        for (int i = 0; i < 5; i++) {
            uint8_t col = font_5x7[idx][i];
            for (int j = 0; j < 7; j++) {
                if (col & (1 << j)) frame_buffer[((y + j) / 8) * SCREEN_WIDTH + (x + i)] |= (1 << ((y + j) % 8));
            }
        }
        x += 6; s++;
    }
}

/* --- High Frequency 80Hz Sensor Thread --- */
void sensor_thread(void *p1, void *p2, void *p3) {
    struct sensor_value rate = { .val1 = HX711_RATE_80HZ };
    sensor_attr_set(hx, HX711_SENSOR_CHAN_WEIGHT, SENSOR_ATTR_SAMPLING_FREQUENCY, &rate);
    
    struct sensor_value val;
    float alpha = 0.15f; // EMA filter strength (Lower = smoother but slower to react)

    while (1) {
        // Blocks exactly until the HX711 80Hz DOUT pulse fires
        if (sensor_sample_fetch(hx) == 0) {
            sensor_channel_get(hx, HX711_SENSOR_CHAN_WEIGHT, &val);
            latest_raw = val.val1;
            
            // Apply Exponential Moving Average (EMA) to kill the noise
            if (filtered_raw == 0.0f) filtered_raw = (float)latest_raw; // Initialize
            filtered_raw = (alpha * (float)latest_raw) + ((1.0f - alpha) * filtered_raw);
        }
    }
}
// Run cooperatively at high priority to never miss an 80Hz tick
K_THREAD_DEFINE(s_tid, 1024, sensor_thread, NULL, NULL, NULL, K_PRIO_COOP(1), 0, 0);

/* --- Display Engine --- */
int main(void) {
    gpio_pin_configure_dt(&btn, GPIO_INPUT);
    struct display_buffer_descriptor desc = { .buf_size = 1024, .width = 128, .height = 64, .pitch = 128 };
    char buf[32];

    while (1) {
        memset(frame_buffer, 0, 1024);

        /* 1. Calculate the real weight using the smoothed data */
        float weight = (filtered_raw - tare_offset) / scale_factor;

        /* 2. Top Line: Filtered Grams */
        snprintf(buf, sizeof(buf), "GRAMS: %d", (int)weight);
        draw_text(0, 10, buf);

        /* 3. Bottom Line: Raw Unfiltered ADC */
        snprintf(buf, sizeof(buf), "RAW: %d", latest_raw);
        draw_text(0, 45, buf);

        /* Tare logic: Zero out the scale if button is pressed */
        if (gpio_pin_get_dt(&btn)) {
            tare_offset = filtered_raw;
        }

        /* Blast to OLED */
        display_write(disp, 0, 0, &desc, frame_buffer);
        
        /* Yield to let other things run, refreshing screen at a smooth ~40Hz */
        k_sleep(K_MSEC(25)); 
    }
}
```

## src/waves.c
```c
#include <zephyr/kernel.h>
#include <zephyr/device.h>
#include <zephyr/drivers/display.h>
#include <string.h>

#define SCREEN_WIDTH 128
#define SCREEN_HEIGHT 64
static uint8_t frame_buffer[1024];

/* Fast inline pixel drawing - Maps directly to SSD1306 page/column architecture */
static inline void set_pixel(int x, int y) {
    if (x >= 0 && x < SCREEN_WIDTH && y >= 0 && y < SCREEN_HEIGHT) {
        frame_buffer[(y / 8) * SCREEN_WIDTH + x] |= (1 << (y % 8));
    }
}

/* 64-step Sine Wave Lookup Table (Amplitude 255) for ZERO-overhead math */
static const int16_t sin_tbl[64] = {
    0, 25, 50, 74, 98, 120, 142, 162, 180, 197, 212, 225, 236, 244, 250, 254,
    255, 254, 250, 244, 236, 225, 212, 197, 180, 162, 142, 120, 98, 74, 50, 25,
    0, -25, -50, -74, -98, -120, -142, -162, -180, -197, -212, -225, -236, -244, -250, -254,
    -255, -254, -250, -244, -236, -225, -212, -197, -180, -162, -142, -120, -98, -74, -50, -25
};

static inline int fast_sin(int angle) {
    return sin_tbl[(angle & 63)];
}

int main(void)
{
    const struct device *display_dev = DEVICE_DT_GET(DT_NODELABEL(ssd1306));

    if (!device_is_ready(display_dev)) return 0;
    display_blanking_off(display_dev);

    struct display_buffer_descriptor buf_desc = {
        .buf_size = sizeof(frame_buffer), 
        .width = SCREEN_WIDTH,
        .height = SCREEN_HEIGHT, 
        .pitch = SCREEN_WIDTH
    };

    /* Fluid physics states */
    int phase1 = 0, phase2 = 0, phase3 = 0;

    while (1) {
        /* 1. Clear the frame buffer (Fastest way to wipe the screen) */
        memset(frame_buffer, 0, sizeof(frame_buffer));

        /* 2. Compute and Draw the wave surface */
        for (int x = 0; x < SCREEN_WIDTH; x++) {
            
            /* Combine 3 sine waves for organic interference patterns */
            int y1 = (fast_sin((x * 2) + phase1) * 12) / 255;
            int y2 = (fast_sin((x * 1) + phase2) * 8) / 255;
            int y3 = (fast_sin((x * 3) + phase3) * 4) / 255;
            
            int surface_y = 32 + y1 + y2 + y3;
            
            /* Draw solid surface line */
            set_pixel(x, surface_y);
            set_pixel(x, surface_y + 1);
            
            /* Fill the 'underwater' area with a 50% dither pattern */
            for(int fy = surface_y + 2; fy < SCREEN_HEIGHT; fy++) {
                if ((x + fy) % 2 == 0) { 
                    set_pixel(x, fy);
                }
            }
        }
        
        /* 3. Evolve the phases for the next frame */
        phase1 += 2;
        phase2 -= 1;
        phase3 += 3;

        /* 4. Blast the entire buffer to the OLED in one SPI transaction */
        display_write(display_dev, 0, 0, &buf_desc, frame_buffer);

        /* 5. Precise microsecond sleep for 120Hz lock */
        k_usleep(7300); 
    }
}
```
